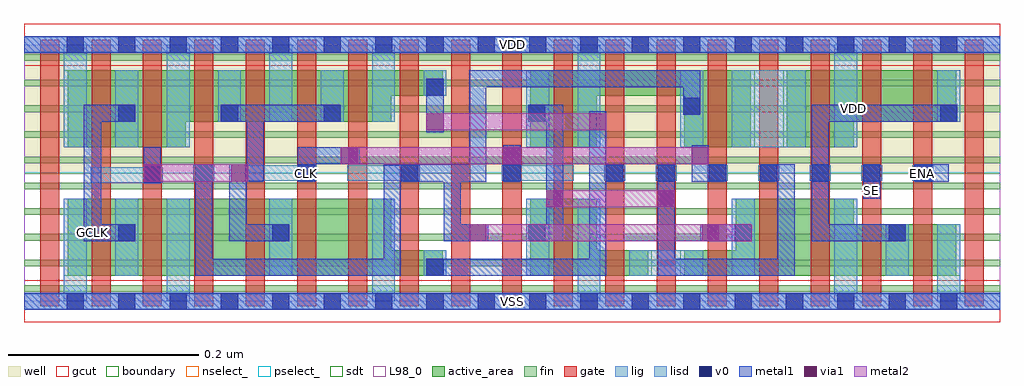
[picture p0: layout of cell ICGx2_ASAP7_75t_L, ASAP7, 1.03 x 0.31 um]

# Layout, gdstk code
import gdstk
lib = gdstk.Library(unit=1e-6, precision=2.5e-10)
def R(c, l, rs):  # rectangles x0, y0, x1, y1
    for r in rs: c.add(gdstk.rectangle(r[:2], r[2:], *l))
def A(c, l, x, y, w, h, nx, ny, dx, dy):  # array of equal rectangles
    R(c, l, [(x+i*dx, y+j*dy, x+i*dx+w, y+j*dy+h) for i in range(nx) for j in range(ny)])
def P(c, l, *ps):  # polygons
    for p in ps: c.add(gdstk.Polygon(p, *l))
well = (1, 0)
fin = (2, 0)
gate = (7, 0)
gcut = (10, 0)
active_area = (11, 0)
nselect_ = (12, 0)
pselect_ = (13, 0)
lig = (16, 0)
lisd = (17, 0)
v0 = (18, 0)
metal1 = (19, 0)
metal2 = (20, 0)
via1 = (21, 0)
sdt = (88, 0)
L98_0 = (98, 0)
boundary = (100, 0)

icgx2_asap7_75t_l = lib.new_cell('ICGx2_ASAP7_75t_L')
R(icgx2_asap7_75t_l, well, [(0,0.135,1.026,0.27)])
A(icgx2_asap7_75t_l, fin, 0, 0.01, 1.026, 0.007, 1, 10, 0, 0.027)
A(icgx2_asap7_75t_l, gate, 0.017, -0.005, 0.02, 0.28, 19, 1, 0.054, 0)
R(icgx2_asap7_75t_l, gcut, [(0,-0.022,1.026,0.022), (0,0.248,1.026,0.292)])
P(icgx2_asap7_75t_l, active_area, [(0.656,0.054),(0.602,0.054),(0.602,0.108),(0.532,0.108),(0.532,0.027),(0.656,0.027)],
  [(0.872,0.108),(0.748,0.108),(0.748,0.054),(0.694,0.054),(0.694,0.027),(0.98,0.027),(0.98,0.081),(0.872,0.081)],
  [(0.046,0.027),(0.44,0.027),(0.44,0.054),(0.386,0.054),(0.386,0.108),(0.046,0.108)],
  [(0.694,0.162),(0.764,0.162),(0.764,0.243),(0.532,0.243),(0.532,0.162),(0.602,0.162),(0.602,0.216),(0.694,0.216)],
  [(0.98,0.243),(0.802,0.243),(0.802,0.162),(0.872,0.162),(0.872,0.189),(0.98,0.189)],
  [(0.386,0.216),(0.44,0.216),(0.44,0.243),(0.046,0.243),(0.046,0.162),(0.17,0.162),(0.17,0.189),(0.386,0.189)])
R(icgx2_asap7_75t_l, nselect_, [(0,0,1.026,0.135)])
R(icgx2_asap7_75t_l, pselect_, [(0,0.135,1.026,0.27)])
A(icgx2_asap7_75t_l, lig, 0.61, 0.127, 0.022, 0.016, 7, 1, 0.054, 0)
R(icgx2_asap7_75t_l, lig, [(0,-0.008,1.026,0.008), (0.07,0.125,0.146,0.141), (0.178,0.127,0.2,0.143), (0.232,0.127,0.308,0.143), (0.34,0.127,0.416,0.143), (0.502,0.127,0.578,0.143), (0,0.262,1.026,0.278)])
A(icgx2_asap7_75t_l, lisd, 0.15, 0, 0.024, 0.108, 3, 1, 0.216, 0)
R(icgx2_asap7_75t_l, lisd, [(0.042,0,0.066,0.108), (0.852,0,0.876,0.108), (0.96,0,0.984,0.081), (0.096,0.027,0.12,0.108), (0.258,0.027,0.282,0.108), (0.42,0.027,0.444,0.054), (0.528,0.027,0.552,0.108), (0.636,0.027,0.714,0.054), (0.744,0.027,0.768,0.108), (0.906,0.027,0.93,0.081), (0.042,0.162,0.066,0.27), (0.096,0.162,0.12,0.243), (0.15,0.162,0.174,0.27), (0.528,0.162,0.552,0.243), (0.582,0.162,0.606,0.27), (0.69,0.162,0.714,0.243), (0.744,0.162,0.822,0.243), (0.852,0.162,0.876,0.27), (0.204,0.189,0.228,0.243), (0.258,0.189,0.282,0.27), (0.312,0.189,0.336,0.243), (0.366,0.189,0.39,0.27), (0.96,0.189,0.984,0.243), (0.42,0.216,0.444,0.243)])
A(icgx2_asap7_75t_l, v0, 0.045, -0.009, 0.018, 0.018, 18, 2, 0.054, 0.27)
A(icgx2_asap7_75t_l, v0, 0.18, 0.126, 0.018, 0.018, 5, 1, 0.108, 0)
A(icgx2_asap7_75t_l, v0, 0.666, 0.126, 0.018, 0.018, 6, 1, 0.054, 0)
A(icgx2_asap7_75t_l, v0, 0.099, 0.189, 0.018, 0.018, 3, 1, 0.108, 0)
R(icgx2_asap7_75t_l, v0, [(0.423,0.027,0.441,0.045), (0.099,0.063,0.117,0.081), (0.261,0.063,0.279,0.081), (0.53,0.063,0.548,0.081), (0.747,0.063,0.765,0.081), (0.909,0.063,0.927,0.081), (0.126,0.124,0.144,0.142), (0.53,0.189,0.548,0.207), (0.963,0.189,0.981,0.207), (0.693,0.196,0.711,0.214), (0.423,0.216,0.441,0.234)])
R(icgx2_asap7_75t_l, metal1, [(0,-0.009,1.026,0.009), (0.711,0.063,0.765,0.081), (0.882,0.108,0.9,0.144), (0.126,0.124,0.144,0.162), (0.504,0.126,0.522,0.164), (0.936,0.126,0.972,0.144), (0.423,0.178,0.441,0.234), (0,0.261,1.026,0.279)])
P(icgx2_asap7_75t_l, metal1, [(0.81,0.144),(0.774,0.144),(0.774,0.126),(0.792,0.126),(0.792,0.045),(0.684,0.045),(0.684,0.144),(0.666,0.144),(0.666,0.027),(0.81,0.027)],
  [(0.306,0.144),(0.353,0.144),(0.353,0.162),(0.288,0.162),(0.288,0.126),(0.306,0.126)],
  [(0.738,0.144),(0.72,0.144),(0.72,0.164),(0.702,0.164),(0.702,0.126),(0.738,0.126)],
  [(0.612,0.126),(0.63,0.126),(0.63,0.144),(0.612,0.144),(0.612,0.2),(0.594,0.2),(0.594,0.045),(0.423,0.045),(0.423,0.027),(0.612,0.027)],
  [(0.117,0.081),(0.081,0.081),(0.081,0.189),(0.117,0.189),(0.117,0.207),(0.063,0.207),(0.063,0.063),(0.117,0.063)],
  [(0.567,0.207),(0.53,0.207),(0.53,0.189),(0.549,0.189),(0.549,0.081),(0.53,0.081),(0.53,0.063),(0.567,0.063)],
  [(0.279,0.081),(0.234,0.081),(0.234,0.126),(0.252,0.126),(0.252,0.189),(0.333,0.189),(0.333,0.207),(0.207,0.207),(0.207,0.189),(0.234,0.189),(0.234,0.144),(0.216,0.144),(0.216,0.063),(0.279,0.063)],
  [(0.981,0.207),(0.828,0.207),(0.828,0.063),(0.927,0.063),(0.927,0.081),(0.846,0.081),(0.846,0.189),(0.981,0.189)],
  [(0.396,0.126),(0.441,0.126),(0.441,0.063),(0.488,0.063),(0.488,0.081),(0.459,0.081),(0.459,0.126),(0.486,0.126),(0.486,0.225),(0.693,0.225),(0.693,0.196),(0.711,0.196),(0.711,0.243),(0.468,0.243),(0.468,0.144),(0.378,0.144),(0.378,0.045),(0.198,0.045),(0.198,0.144),(0.18,0.144),(0.18,0.027),(0.396,0.027)])
R(icgx2_asap7_75t_l, metal2, [(0.468,0.063,0.765,0.081), (0.549,0.099,0.684,0.117), (0.126,0.126,0.236,0.144), (0.333,0.144,0.72,0.162), (0.423,0.18,0.612,0.198)])
R(icgx2_asap7_75t_l, via1, [(0.468,0.063,0.486,0.081), (0.713,0.063,0.731,0.081), (0.549,0.099,0.567,0.117), (0.666,0.099,0.684,0.117), (0.126,0.126,0.144,0.144), (0.218,0.126,0.236,0.144), (0.333,0.144,0.351,0.162), (0.504,0.144,0.522,0.162), (0.702,0.144,0.72,0.162), (0.423,0.18,0.441,0.198), (0.594,0.18,0.612,0.198)])
A(icgx2_asap7_75t_l, sdt, 0.042, 0.027, 0.024, 0.081, 3, 2, 0.054, 0.135)
A(icgx2_asap7_75t_l, sdt, 0.69, 0.162, 0.024, 0.081, 4, 1, 0.054, 0)
A(icgx2_asap7_75t_l, sdt, 0.204, 0.189, 0.024, 0.054, 4, 1, 0.054, 0)
R(icgx2_asap7_75t_l, sdt, [(0.258,0.027,0.282,0.108), (0.366,0.027,0.39,0.108), (0.42,0.027,0.444,0.054), (0.528,0.027,0.552,0.108), (0.582,0.027,0.606,0.108), (0.636,0.027,0.66,0.054), (0.69,0.027,0.714,0.054), (0.744,0.027,0.768,0.108), (0.852,0.027,0.876,0.108), (0.906,0.027,0.93,0.081), (0.96,0.027,0.984,0.081), (0.528,0.162,0.552,0.243), (0.582,0.162,0.606,0.243), (0.96,0.189,0.984,0.243), (0.42,0.216,0.444,0.243)])
R(icgx2_asap7_75t_l, L98_0, [(0,0,1.026,0.27)])
R(icgx2_asap7_75t_l, boundary, [(0,0,1.026,0.27)])
icgx2_asap7_75t_l.add(gdstk.Label('SE', (0.891,0.117), layer=19, texttype=251))
icgx2_asap7_75t_l.add(gdstk.Label('GCLK', (0.072,0.072), layer=19, texttype=251))
icgx2_asap7_75t_l.add(gdstk.Label('ENA', (0.945,0.135), layer=19, texttype=251))
icgx2_asap7_75t_l.add(gdstk.Label('CLK', (0.297,0.135), layer=19, texttype=251))
icgx2_asap7_75t_l.add(gdstk.Label('VSS', (0.513,0), layer=19, texttype=251))
icgx2_asap7_75t_l.add(gdstk.Label('VDD', (0.513,0.27), layer=19, texttype=251))
icgx2_asap7_75t_l.add(gdstk.Label('VDD', (0.872,0.2025), layer=1, texttype=251))
icgx2_asap7_75t_l.add(gdstk.Label('VSS', (1.18,0.2025), layer=3, texttype=251))

lib.write_gds('ICGx2_ASAP7_75t_L.gds')
